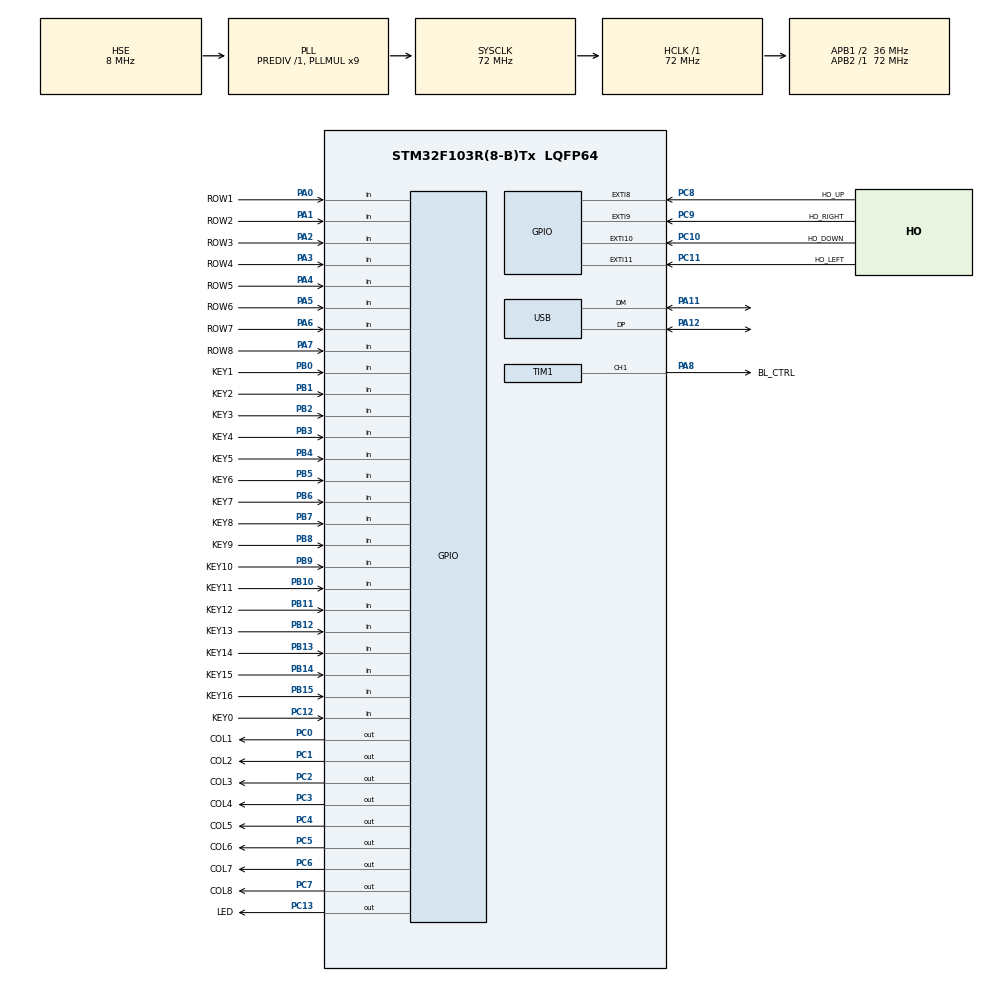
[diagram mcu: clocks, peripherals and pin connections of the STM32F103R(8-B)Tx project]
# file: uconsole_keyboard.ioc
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Mcu.Family=STM32F1
Mcu.Name=STM32F103R(8-B)Tx
Mcu.Package=LQFP64
NVIC.EXTI15_10_IRQn=true\:0\:0\:false\:false\:true\:true\:true\:true
NVIC.EXTI9_5_IRQn=true\:0\:0\:false\:false\:true\:true\:true\:true
NVIC.PriorityGroup=NVIC_PRIORITYGROUP_4
NVIC.USB_LP_CAN1_RX0_IRQn=true\:0\:0\:false\:false\:true\:false\:true\:true
PA0-WKUP.GPIO_Label=ROW1
PA0-WKUP.GPIO_Mode=GPIO_MODE_INPUT
PA0-WKUP.GPIO_PuPd=GPIO_PULLDOWN
PA0-WKUP.Signal=GPIO_Input
PA1.GPIO_Label=ROW2
PA1.GPIO_Mode=GPIO_MODE_INPUT
PA1.GPIO_PuPd=GPIO_PULLDOWN
PA1.Signal=GPIO_Input
PA11.Mode=Device
PA11.Signal=USB_DM
PA12.Mode=Device
PA12.Signal=USB_DP
PA2.GPIO_Label=ROW3
PA2.GPIO_Mode=GPIO_MODE_INPUT
PA2.GPIO_PuPd=GPIO_PULLDOWN
PA2.Signal=GPIO_Input
PA3.GPIO_Label=ROW4
PA3.GPIO_Mode=GPIO_MODE_INPUT
PA3.GPIO_PuPd=GPIO_PULLDOWN
PA3.Signal=GPIO_Input
PA4.GPIO_Label=ROW5
PA4.GPIO_Mode=GPIO_MODE_INPUT
PA4.GPIO_PuPd=GPIO_PULLDOWN
PA4.Signal=GPIO_Input
PA5.GPIO_Label=ROW6
PA5.GPIO_Mode=GPIO_MODE_INPUT
PA5.GPIO_PuPd=GPIO_PULLDOWN
PA5.Signal=GPIO_Input
PA6.GPIO_Label=ROW7
PA6.GPIO_Mode=GPIO_MODE_INPUT
PA6.GPIO_PuPd=GPIO_PULLDOWN
PA6.Signal=GPIO_Input
PA7.GPIO_Label=ROW8
PA7.GPIO_Mode=GPIO_MODE_INPUT
PA7.GPIO_PuPd=GPIO_PULLDOWN
PA7.Signal=GPIO_Input
PA8.GPIO_Label=BL_CTRL
PA8.Signal=S_TIM1_CH1
PB0.GPIO_Label=KEY1
PB0.GPIO_Mode=GPIO_MODE_INPUT
PB0.GPIO_PuPd=GPIO_PULLUP
PB0.Signal=GPIO_Input
PB1.GPIO_Label=KEY2
PB1.GPIO_Mode=GPIO_MODE_INPUT
PB1.GPIO_PuPd=GPIO_PULLUP
PB1.Signal=GPIO_Input
PB10.GPIO_Label=KEY11
PB10.GPIO_Mode=GPIO_MODE_INPUT
PB10.GPIO_PuPd=GPIO_PULLUP
PB10.Signal=GPIO_Input
PB11.GPIO_Label=KEY12
PB11.GPIO_Mode=GPIO_MODE_INPUT
PB11.GPIO_PuPd=GPIO_PULLUP
PB11.Signal=GPIO_Input
PB12.GPIO_Label=KEY13
PB12.GPIO_Mode=GPIO_MODE_INPUT
PB12.GPIO_PuPd=GPIO_PULLUP
PB12.Signal=GPIO_Input
PB13.GPIO_Label=KEY14
PB13.GPIO_Mode=GPIO_MODE_INPUT
PB13.GPIO_PuPd=GPIO_PULLUP
PB13.Signal=GPIO_Input
PB14.GPIO_Label=KEY15
PB14.GPIO_Mode=GPIO_MODE_INPUT
PB14.GPIO_PuPd=GPIO_PULLUP
PB14.Signal=GPIO_Input
PB15.GPIO_Label=KEY16
PB15.GPIO_Mode=GPIO_MODE_INPUT
PB15.GPIO_PuPd=GPIO_PULLUP
PB15.Signal=GPIO_Input
PB2.GPIO_Label=KEY3
PB2.GPIO_Mode=GPIO_MODE_INPUT
PB2.GPIO_PuPd=GPIO_PULLUP
PB2.Signal=GPIO_Input
PB3.GPIO_Label=KEY4
PB3.GPIO_Mode=GPIO_MODE_INPUT
PB3.GPIO_PuPd=GPIO_PULLUP
PB3.Signal=GPIO_Input
PB4.GPIO_Label=KEY5
PB4.GPIO_Mode=GPIO_MODE_INPUT
PB4.GPIO_PuPd=GPIO_PULLUP
PB4.Signal=GPIO_Input
PB5.GPIO_Label=KEY6
PB5.GPIO_Mode=GPIO_MODE_INPUT
PB5.GPIO_PuPd=GPIO_PULLUP
PB5.Signal=GPIO_Input
PB6.GPIO_Label=KEY7
PB6.GPIO_Mode=GPIO_MODE_INPUT
PB6.GPIO_PuPd=GPIO_PULLUP
PB6.Signal=GPIO_Input
PB7.GPIO_Label=KEY8
PB7.GPIO_Mode=GPIO_MODE_INPUT
PB7.GPIO_PuPd=GPIO_PULLUP
PB7.Signal=GPIO_Input
PB8.GPIO_Label=KEY9
PB8.GPIO_Mode=GPIO_MODE_INPUT
PB8.GPIO_PuPd=GPIO_PULLUP
PB8.Signal=GPIO_Input
PB9.GPIO_Label=KEY10
PB9.GPIO_Mode=GPIO_MODE_INPUT
PB9.GPIO_PuPd=GPIO_PULLUP
PB9.Signal=GPIO_Input
PC0.GPIO_Label=COL1
PC0.GPIO_Speed=GPIO_SPEED_FREQ_HIGH
PC0.Signal=GPIO_Output
PC1.GPIO_Label=COL2
PC1.GPIO_Speed=GPIO_SPEED_FREQ_HIGH
PC1.Signal=GPIO_Output
PC10.GPIO_Label=HO_DOWN
PC10.GPIO_ModeDefaultEXTI=GPIO_MODE_IT_RISING_FALLING
PC10.Signal=GPXTI10
PC11.GPIO_Label=HO_LEFT
PC11.GPIO_ModeDefaultEXTI=GPIO_MODE_IT_RISING_FALLING
PC11.Signal=GPXTI11
PC12.GPIO_Label=KEY0
PC12.GPIO_PuPd=GPIO_PULLUP
PC12.Signal=GPIO_Input
PC13-TAMPER-RTC.GPIO_Label=LED
PC13-TAMPER-RTC.GPIO_Speed=GPIO_SPEED_FREQ_LOW
PC13-TAMPER-RTC.PinState=GPIO_PIN_SET
PC13-TAMPER-RTC.Signal=GPIO_Output
PC14-OSC32_IN.Mode=LSE-External-Oscillator
PC14-OSC32_IN.Signal=RCC_OSC32_IN
PC15-OSC32_OUT.Mode=LSE-External-Oscillator
PC15-OSC32_OUT.Signal=RCC_OSC32_OUT
PC2.GPIO_Label=COL3
PC2.GPIO_Speed=GPIO_SPEED_FREQ_HIGH
PC2.Signal=GPIO_Output
PC3.GPIO_Label=COL4
PC3.GPIO_Speed=GPIO_SPEED_FREQ_HIGH
PC3.Signal=GPIO_Output
PC4.GPIO_Label=COL5
PC4.GPIO_Speed=GPIO_SPEED_FREQ_HIGH
PC4.Signal=GPIO_Output
PC5.GPIO_Label=COL6
PC5.GPIO_Speed=GPIO_SPEED_FREQ_HIGH
PC5.Signal=GPIO_Output
PC6.GPIO_Label=COL7
PC6.GPIO_Speed=GPIO_SPEED_FREQ_HIGH
PC6.Signal=GPIO_Output
PC7.GPIO_Label=COL8
PC7.GPIO_Speed=GPIO_SPEED_FREQ_HIGH
PC7.Signal=GPIO_Output
PC8.GPIO_Label=HO_UP
PC8.GPIO_ModeDefaultEXTI=GPIO_MODE_IT_RISING_FALLING
PC8.Signal=GPXTI8
PC9.GPIO_Label=HO_RIGHT
PC9.GPIO_ModeDefaultEXTI=GPIO_MODE_IT_RISING_FALLING
PC9.Signal=GPXTI9
PD0-OSC_IN.Mode=HSE-External-Oscillator
PD0-OSC_IN.Signal=RCC_OSC_IN
PD1-OSC_OUT.Mode=HSE-External-Oscillator
PD1-OSC_OUT.Signal=RCC_OSC_OUT
ProjectManager.HeapSize=0x200
ProjectManager.StackSize=0x400
ProjectManager.TargetToolchain=Makefile
RCC.AHBFreq_Value=72000000
RCC.APB1CLKDivider=RCC_HCLK_DIV2
RCC.APB1Freq_Value=36000000
RCC.APB1TimFreq_Value=72000000
RCC.APB2Freq_Value=72000000
RCC.APB2TimFreq_Value=72000000
RCC.HCLKFreq_Value=72000000
RCC.PLLMUL=RCC_PLL_MUL9
RCC.PLLSourceVirtual=RCC_PLLSOURCE_HSE
RCC.SYSCLKFreq_VALUE=72000000
RCC.SYSCLKSource=RCC_SYSCLKSOURCE_PLLCLK
RCC.USBFreq_Value=48000000
RCC.USBPrescaler=RCC_USBCLKSOURCE_PLL_DIV1_5
SH.S_TIM1_CH1.0=TIM1_CH1,PWM Generation1 CH1
TIM1.Channel-PWM\ Generation1\ CH1=TIM_CHANNEL_1
TIM1.OCIdleState_1=TIM_OCIDLESTATE_RESET
TIM1.Period=2000
USB_DEVICE.CLASS_NAME_FS=CUSTOM_HID
USB_DEVICE.MANUFACTURER_STRING=ClockworkPI
USB_DEVICE.PID_CUSTOMHID_FS=0x0024
USB_DEVICE.PRODUCT_STRING_CUSTOMHID_FS=uConsole
USB_DEVICE.USBD_CUSTOMHID_OUTREPORT_BUF_SIZE=2
USB_DEVICE.USBD_CUSTOM_HID_REPORT_DESC_SIZE=225
USB_DEVICE.VID=0x1eaf
USB_DEVICE.VirtualMode=CustomHid
USB_DEVICE.VirtualModeFS=Custom_Hid_FS
VP_SYS_VS_ND.Mode=No_Debug
VP_TIM1_VS_ClockSourceINT.Mode=Internal
VP_USB_DEVICE_VS_USB_DEVICE_CUSTOM_HID_FS.Mode=CUSTOM_HID_FS
board=custom

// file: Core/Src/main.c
/* USER CODE BEGIN Header */
/**
  ******************************************************************************
  * @file           : main.c
  * @brief          : Main program body
  ******************************************************************************
  * @attention
  *
  * Copyright (c) 2025 STMicroelectronics.
  * All rights reserved.
  *
  * This software is licensed under terms that can be found in the LICENSE file
  * in the root directory of this software component.
  * If no LICENSE file comes with this software, it is provided AS-IS.
  *
  ******************************************************************************
  */
/* USER CODE END Header */
#include "main.h"
#include "usb_device.h"

/* USER CODE BEGIN Includes */
#include "keyboard_non_matrix.h"
#include "trackball.h"
#include "keymaps.h"
#include "keyboard_state.h"
#include "hid_keyboard.h"
#include "hid_mouse.h"
#include "hid_consumer.h"
/* USER CODE END Includes */

TIM_HandleTypeDef htim1;

void SystemClock_Config(void);
static void MX_GPIO_Init(void);
static void MX_TIM1_Init(void);

/* USER CODE BEGIN 0 */
/**
* @brief  Reset USB peripheral completely after bootloader
* @retval None
*/
static void USB_Reset_After_Bootloader(void)
{
  // Step 1: Disable USB interrupts
  HAL_NVIC_DisableIRQ(USB_HP_CAN1_TX_IRQn);
  HAL_NVIC_DisableIRQ(USB_LP_CAN1_RX0_IRQn);

  // Step 2: Clear any pending USB interrupts
  NVIC_ClearPendingIRQ(USB_HP_CAN1_TX_IRQn);
  NVIC_ClearPendingIRQ(USB_LP_CAN1_RX0_IRQn);

  // Step 3: Enable USB clock to access registers
  __HAL_RCC_USB_CLK_ENABLE();

  // Step 4: Force USB reset and clear all registers
  USB->CNTR = (uint16_t)USB_CNTR_FRES;
  HAL_Delay(1);
  USB->CNTR = 0U;
  USB->ISTR = 0U;
  USB->DADDR = 0U;
  USB->BTABLE = 0U;

  // Step 5: Disable USB clock
  __HAL_RCC_USB_CLK_DISABLE();

  // Step 6: Reset USB peripheral through RCC (hardware reset)
  __HAL_RCC_USB_FORCE_RESET();
  HAL_Delay(10);
  __HAL_RCC_USB_RELEASE_RESET();
  HAL_Delay(10);

  // Step 7: Force USB disconnect by pulling DP (PA12) low
  // This simulates physical disconnection
  GPIO_InitTypeDef GPIO_InitStruct = {0};

  // Configure PA12 (USB_DP) as output
  GPIO_InitStruct.Pin = GPIO_PIN_12;
  GPIO_InitStruct.Mode = GPIO_MODE_OUTPUT_PP;
  GPIO_InitStruct.Pull = GPIO_NOPULL;
  GPIO_InitStruct.Speed = GPIO_SPEED_FREQ_LOW;
  HAL_GPIO_Init(GPIOA, &GPIO_InitStruct);

  // Pull DP low to force disconnect
  HAL_GPIO_WritePin(GPIOA, GPIO_PIN_12, GPIO_PIN_RESET);

  // Wait longer for host to detect disconnect (USB spec requires at least 2.5us, we use 200ms)
  // This gives Windows enough time to fully release the device and clear its cache
  HAL_Delay(200);

  // Step 8: Release GPIO and restore to default state
  HAL_GPIO_DeInit(GPIOA, GPIO_PIN_12);

  // Step 9: Additional delay before reinitialization to ensure host has fully processed disconnect
  HAL_Delay(100);

  // Step 10: Ensure USB pins are in correct state for reinitialization
  // PA11 (USB_DM) and PA12 (USB_DP) should be in analog mode for USB
  // On STM32F1, USB pins don't need explicit configuration, but we ensure clean state
  // The pins will be configured by USB peripheral when it's enabled
}

/**
 * @brief Blink the keyboard LEDs a specified number of times with a defined interval.
 *
 * This function initiates a visual blinking effect for the keyboard LEDs. The "interval" parameter
 * specifies the total duration of one blink cycle (LED ON time plus LED OFF time), measured in milliseconds.
 * The LEDs will blink "count" times, with each blink consisting of the LED being on and off for the duration
 * specified by "interval".
 *
 * @param count    Number of blink cycles (on + off) to perform.
 * @param interval Total duration of each blink cycle in milliseconds (LED on time + pause time).
 */
void leds_blink(uint8_t count, uint16_t interval)
{
  keyboard_state.leds_timer = HAL_GetTick() + count * interval;
  keyboard_state.leds_interfal = interval;
}

/**
* @brief  Reset to bootloader via watchdog
* @retval None (never returns)
*/
void jump_to_bootloader(void)
{
    IWDG->KR = 0x5555;
    IWDG->PR = 0;
    IWDG->RLR = 1;
    IWDG->KR = 0xCCCC;
    while (1);
}
/* USER CODE END 0 */

int main(void)
{

  /* MCU Configuration--------------------------------------------------------*/

  /* Reset of all peripherals, Initializes the Flash interface and the Systick. */
  HAL_Init();

  /* Configure the system clock */
  SystemClock_Config();

  /* USER CODE BEGIN SysInit */
  USB_Reset_After_Bootloader();
  /* USER CODE END SysInit */

  /* Initialize all configured peripherals */
  MX_GPIO_Init();
  MX_TIM1_Init();
  MX_USB_DEVICE_Init();
  /* USER CODE BEGIN 2 */

  // Initialize keyboard state
  keyboard_state.layer = DEF_LAYER;
  keyboard_state.mod_keys_on = 0;
  keyboard_state.backlight = KEYBOARD_INITIAL_BACKLIGHT_VALUE_ID;
  if (keyboard_state.backlight >= (sizeof(backlight_vals) / sizeof(backlight_vals[0]))) {
    keyboard_state.backlight = 0;
  }
  keyboard_state.fn_lock = 0;
  keyboard_state.game_mode = 0;
  keyboard_state.leds_timer = 0;

  // Initialize modules
  matrix_init();
  non_matrix_init();
  trackball_init();

  // Start PWM for backlight
  HAL_TIM_PWM_Start(&htim1, TIM_CHANNEL_1);
  __HAL_TIM_SET_COMPARE(&htim1, TIM_CHANNEL_1, 0);

  // Blink on startup
  if (backlight_vals[KEYBOARD_INITIAL_BACKLIGHT_VALUE_ID] == 0) {
    for (int i = 0; i < 2000; i += 100) {
      __HAL_TIM_SET_COMPARE(&htim1, TIM_CHANNEL_1, i);
      HAL_Delay(25);
    }
    for (int i = 2000; i >= 0; i -= 100) {
      __HAL_TIM_SET_COMPARE(&htim1, TIM_CHANNEL_1, i);
      HAL_Delay(50);
    }
  } else {
    for (int i = 0; i < backlight_vals[KEYBOARD_INITIAL_BACKLIGHT_VALUE_ID]; i += 100) {
      __HAL_TIM_SET_COMPARE(&htim1, TIM_CHANNEL_1, i);
      HAL_Delay(50);
    }
  }

  // Wait for USB connection
  HAL_Delay(1000);

  /* USER CODE END 2 */

  /* Infinite loop */
  /* USER CODE BEGIN WHILE */
  while (1)
  {
    // Update backlight PWM
    uint32_t time = HAL_GetTick();

    if (keyboard_state.leds_timer > time && keyboard_state.leds_interfal > 0) {
      // Blink the LEDs (keyboard backlight)
      uint8_t v = ((keyboard_state.leds_timer - time) / (keyboard_state.leds_interfal / 2)) & 1;
      __HAL_TIM_SET_COMPARE(&htim1, TIM_CHANNEL_1, !v * 0xFFFF);
      HAL_GPIO_WritePin(LED_GPIO_Port, LED_Pin, v ? GPIO_PIN_SET : GPIO_PIN_RESET);
    }
    else if (time - keyboard_state.last_activity_time < KEYBOARD_BACKLIGHT_OFF_TIME * 1000) {
      // Normal backlight
      __HAL_TIM_SET_COMPARE(&htim1, TIM_CHANNEL_1, backlight_vals[keyboard_state.backlight]);
    } else if (time - keyboard_state.last_activity_time >= KEYBOARD_BACKLIGHT_OFF_TIME * 1000 + KEYBOARD_BACKLIGHT_DIM_OUT_DURATION) {
      // Turn off the backlight
      __HAL_TIM_SET_COMPARE(&htim1, TIM_CHANNEL_1, KEYBOARD_BACKLIGHT_DIMMED_OUT_VALUE);
    } else {
      // Dim out the backlight
      uint32_t full_off_remaining_time = keyboard_state.last_activity_time + KEYBOARD_BACKLIGHT_OFF_TIME * 1000 + KEYBOARD_BACKLIGHT_DIM_OUT_DURATION - time;
      uint32_t dim_out_value = ((uint32_t)backlight_vals[keyboard_state.backlight] - KEYBOARD_BACKLIGHT_DIMMED_OUT_VALUE)
        * full_off_remaining_time
        / KEYBOARD_BACKLIGHT_DIM_OUT_DURATION
        + KEYBOARD_BACKLIGHT_DIMMED_OUT_VALUE;
      __HAL_TIM_SET_COMPARE(&htim1, TIM_CHANNEL_1, dim_out_value);
    }

    // Main tasks
    matrix_task();
    non_matrix_task();
    trackball_task();

    HAL_Delay(1);
    /* USER CODE END WHILE */

  }
}

void SystemClock_Config(void)
{
  RCC_OscInitTypeDef RCC_OscInitStruct = {0};
  RCC_ClkInitTypeDef RCC_ClkInitStruct = {0};
  RCC_PeriphCLKInitTypeDef PeriphClkInit = {0};

  /** Initializes the RCC Oscillators according to the specified parameters
  * in the RCC_OscInitTypeDef structure.
  */
  RCC_OscInitStruct.OscillatorType = RCC_OSCILLATORTYPE_HSE;
  RCC_OscInitStruct.HSEState = RCC_HSE_ON;
  RCC_OscInitStruct.HSEPredivValue = RCC_HSE_PREDIV_DIV1;
  RCC_OscInitStruct.HSIState = RCC_HSI_ON;
  RCC_OscInitStruct.PLL.PLLState = RCC_PLL_ON;
  RCC_OscInitStruct.PLL.PLLSource = RCC_PLLSOURCE_HSE;
  RCC_OscInitStruct.PLL.PLLMUL = RCC_PLL_MUL9;
  if (HAL_RCC_OscConfig(&RCC_OscInitStruct) != HAL_OK)
  {
    Error_Handler();
  }

  /** Initializes the CPU, AHB and APB buses clocks
  */
  RCC_ClkInitStruct.ClockType = RCC_CLOCKTYPE_HCLK|RCC_CLOCKTYPE_SYSCLK
                              |RCC_CLOCKTYPE_PCLK1|RCC_CLOCKTYPE_PCLK2;
  RCC_ClkInitStruct.SYSCLKSource = RCC_SYSCLKSOURCE_PLLCLK;
  RCC_ClkInitStruct.AHBCLKDivider = RCC_SYSCLK_DIV1;
  RCC_ClkInitStruct.APB1CLKDivider = RCC_HCLK_DIV2;
  RCC_ClkInitStruct.APB2CLKDivider = RCC_HCLK_DIV1;

  if (HAL_RCC_ClockConfig(&RCC_ClkInitStruct, FLASH_LATENCY_2) != HAL_OK)
  {
    Error_Handler();
  }
  PeriphClkInit.PeriphClockSelection = RCC_PERIPHCLK_USB;
  PeriphClkInit.UsbClockSelection = RCC_USBCLKSOURCE_PLL_DIV1_5;
  if (HAL_RCCEx_PeriphCLKConfig(&PeriphClkInit) != HAL_OK)
  {
    Error_Handler();
  }
}

static void MX_TIM1_Init(void)
{

  TIM_ClockConfigTypeDef sClockSourceConfig = {0};
  TIM_MasterConfigTypeDef sMasterConfig = {0};
  TIM_OC_InitTypeDef sConfigOC = {0};
  TIM_BreakDeadTimeConfigTypeDef sBreakDeadTimeConfig = {0};

  htim1.Instance = TIM1;
  htim1.Init.Prescaler = 0;
  htim1.Init.CounterMode = TIM_COUNTERMODE_UP;
  htim1.Init.Period = 2000;
  htim1.Init.ClockDivision = TIM_CLOCKDIVISION_DIV1;
  htim1.Init.RepetitionCounter = 0;
  htim1.Init.AutoReloadPreload = TIM_AUTORELOAD_PRELOAD_DISABLE;
  if (HAL_TIM_Base_Init(&htim1) != HAL_OK)
  {
    Error_Handler();
  }
  sClockSourceConfig.ClockSource = TIM_CLOCKSOURCE_INTERNAL;
  if (HAL_TIM_ConfigClockSource(&htim1, &sClockSourceConfig) != HAL_OK)
  {
    Error_Handler();
  }
  if (HAL_TIM_PWM_Init(&htim1) != HAL_OK)
  {
    Error_Handler();
  }
  sMasterConfig.MasterOutputTrigger = TIM_TRGO_RESET;
  sMasterConfig.MasterSlaveMode = TIM_MASTERSLAVEMODE_DISABLE;
  if (HAL_TIMEx_MasterConfigSynchronization(&htim1, &sMasterConfig) != HAL_OK)
  {
    Error_Handler();
  }
  sConfigOC.OCMode = TIM_OCMODE_PWM1;
  sConfigOC.Pulse = 0;
  sConfigOC.OCPolarity = TIM_OCPOLARITY_HIGH;
  sConfigOC.OCNPolarity = TIM_OCNPOLARITY_HIGH;
  sConfigOC.OCFastMode = TIM_OCFAST_DISABLE;
  sConfigOC.OCIdleState = TIM_OCIDLESTATE_RESET;
  sConfigOC.OCNIdleState = TIM_OCNIDLESTATE_RESET;
  if (HAL_TIM_PWM_ConfigChannel(&htim1, &sConfigOC, TIM_CHANNEL_1) != HAL_OK)
  {
    Error_Handler();
  }
  sBreakDeadTimeConfig.OffStateRunMode = TIM_OSSR_DISABLE;
  sBreakDeadTimeConfig.OffStateIDLEMode = TIM_OSSI_DISABLE;
  sBreakDeadTimeConfig.LockLevel = TIM_LOCKLEVEL_OFF;
  sBreakDeadTimeConfig.DeadTime = 0;
  sBreakDeadTimeConfig.BreakState = TIM_BREAK_DISABLE;
  sBreakDeadTimeConfig.BreakPolarity = TIM_BREAKPOLARITY_HIGH;
  sBreakDeadTimeConfig.AutomaticOutput = TIM_AUTOMATICOUTPUT_DISABLE;
  if (HAL_TIMEx_ConfigBreakDeadTime(&htim1, &sBreakDeadTimeConfig) != HAL_OK)
  {
    Error_Handler();
  }
  HAL_TIM_MspPostInit(&htim1);

}

static void MX_GPIO_Init(void)
{
  GPIO_InitTypeDef GPIO_InitStruct = {0};

  /* GPIO Ports Clock Enable */
  __HAL_RCC_GPIOC_CLK_ENABLE();
  __HAL_RCC_GPIOD_CLK_ENABLE();
  __HAL_RCC_GPIOA_CLK_ENABLE();
  __HAL_RCC_GPIOB_CLK_ENABLE();

  /*Configure GPIO pin Output Level */
  HAL_GPIO_WritePin(LED_GPIO_Port, LED_Pin, GPIO_PIN_SET);

  /*Configure GPIO pin Output Level */
  HAL_GPIO_WritePin(GPIOC, COL1_Pin|COL2_Pin|COL3_Pin|COL4_Pin
                          |COL5_Pin|COL6_Pin|COL7_Pin|COL8_Pin, GPIO_PIN_RESET);

  /*Configure GPIO pin : LED_Pin */
  GPIO_InitStruct.Pin = LED_Pin;
  GPIO_InitStruct.Mode = GPIO_MODE_OUTPUT_PP;
  GPIO_InitStruct.Pull = GPIO_NOPULL;
  GPIO_InitStruct.Speed = GPIO_SPEED_FREQ_LOW;
  HAL_GPIO_Init(LED_GPIO_Port, &GPIO_InitStruct);

  /*Configure GPIO pins : COL1_Pin COL2_Pin COL3_Pin COL4_Pin
                           COL5_Pin COL6_Pin COL7_Pin COL8_Pin */
  GPIO_InitStruct.Pin = COL1_Pin|COL2_Pin|COL3_Pin|COL4_Pin
                          |COL5_Pin|COL6_Pin|COL7_Pin|COL8_Pin;
  GPIO_InitStruct.Mode = GPIO_MODE_OUTPUT_PP;
  GPIO_InitStruct.Pull = GPIO_NOPULL;
  GPIO_InitStruct.Speed = GPIO_SPEED_FREQ_HIGH;
  HAL_GPIO_Init(GPIOC, &GPIO_InitStruct);

  /*Configure GPIO pins : ROW1_Pin ROW2_Pin ROW3_Pin ROW4_Pin
                           ROW5_Pin ROW6_Pin ROW7_Pin ROW8_Pin */
  GPIO_InitStruct.Pin = ROW1_Pin|ROW2_Pin|ROW3_Pin|ROW4_Pin
                          |ROW5_Pin|ROW6_Pin|ROW7_Pin|ROW8_Pin;
  GPIO_InitStruct.Mode = GPIO_MODE_INPUT;
  GPIO_InitStruct.Pull = GPIO_PULLDOWN;
  HAL_GPIO_Init(GPIOA, &GPIO_InitStruct);

  /*Configure GPIO pins : KEY1_Pin KEY2_Pin KEY3_Pin KEY11_Pin
                           KEY12_Pin KEY13_Pin KEY14_Pin KEY15_Pin
                           KEY16_Pin KEY4_Pin KEY5_Pin KEY6_Pin
                           KEY7_Pin KEY8_Pin KEY9_Pin KEY10_Pin */
  GPIO_InitStruct.Pin = KEY1_Pin|KEY2_Pin|KEY3_Pin|KEY11_Pin
                          |KEY12_Pin|KEY13_Pin|KEY14_Pin|KEY15_Pin
                          |KEY16_Pin|KEY4_Pin|KEY5_Pin|KEY6_Pin
                          |KEY7_Pin|KEY8_Pin|KEY9_Pin|KEY10_Pin;
  GPIO_InitStruct.Mode = GPIO_MODE_INPUT;
  GPIO_InitStruct.Pull = GPIO_PULLUP;
  HAL_GPIO_Init(GPIOB, &GPIO_InitStruct);

  /*Configure GPIO pins : HO_UP_Pin HO_RIGHT_Pin HO_DOWN_Pin HO_LEFT_Pin */
  GPIO_InitStruct.Pin = HO_UP_Pin|HO_RIGHT_Pin|HO_DOWN_Pin|HO_LEFT_Pin;
  GPIO_InitStruct.Mode = GPIO_MODE_IT_RISING_FALLING;
  GPIO_InitStruct.Pull = GPIO_NOPULL;
  HAL_GPIO_Init(GPIOC, &GPIO_InitStruct);

  /*Configure GPIO pin : KEY0_Pin */
  GPIO_InitStruct.Pin = KEY0_Pin;
  GPIO_InitStruct.Mode = GPIO_MODE_INPUT;
  GPIO_InitStruct.Pull = GPIO_PULLUP;
  HAL_GPIO_Init(KEY0_GPIO_Port, &GPIO_InitStruct);

  /* EXTI interrupt init*/
  HAL_NVIC_SetPriority(EXTI9_5_IRQn, 0, 0);
  HAL_NVIC_EnableIRQ(EXTI9_5_IRQn);

  HAL_NVIC_SetPriority(EXTI15_10_IRQn, 0, 0);
  HAL_NVIC_EnableIRQ(EXTI15_10_IRQn);

}

void Error_Handler(void)
{
  __disable_irq();
  while (1)
  {
  }
}
